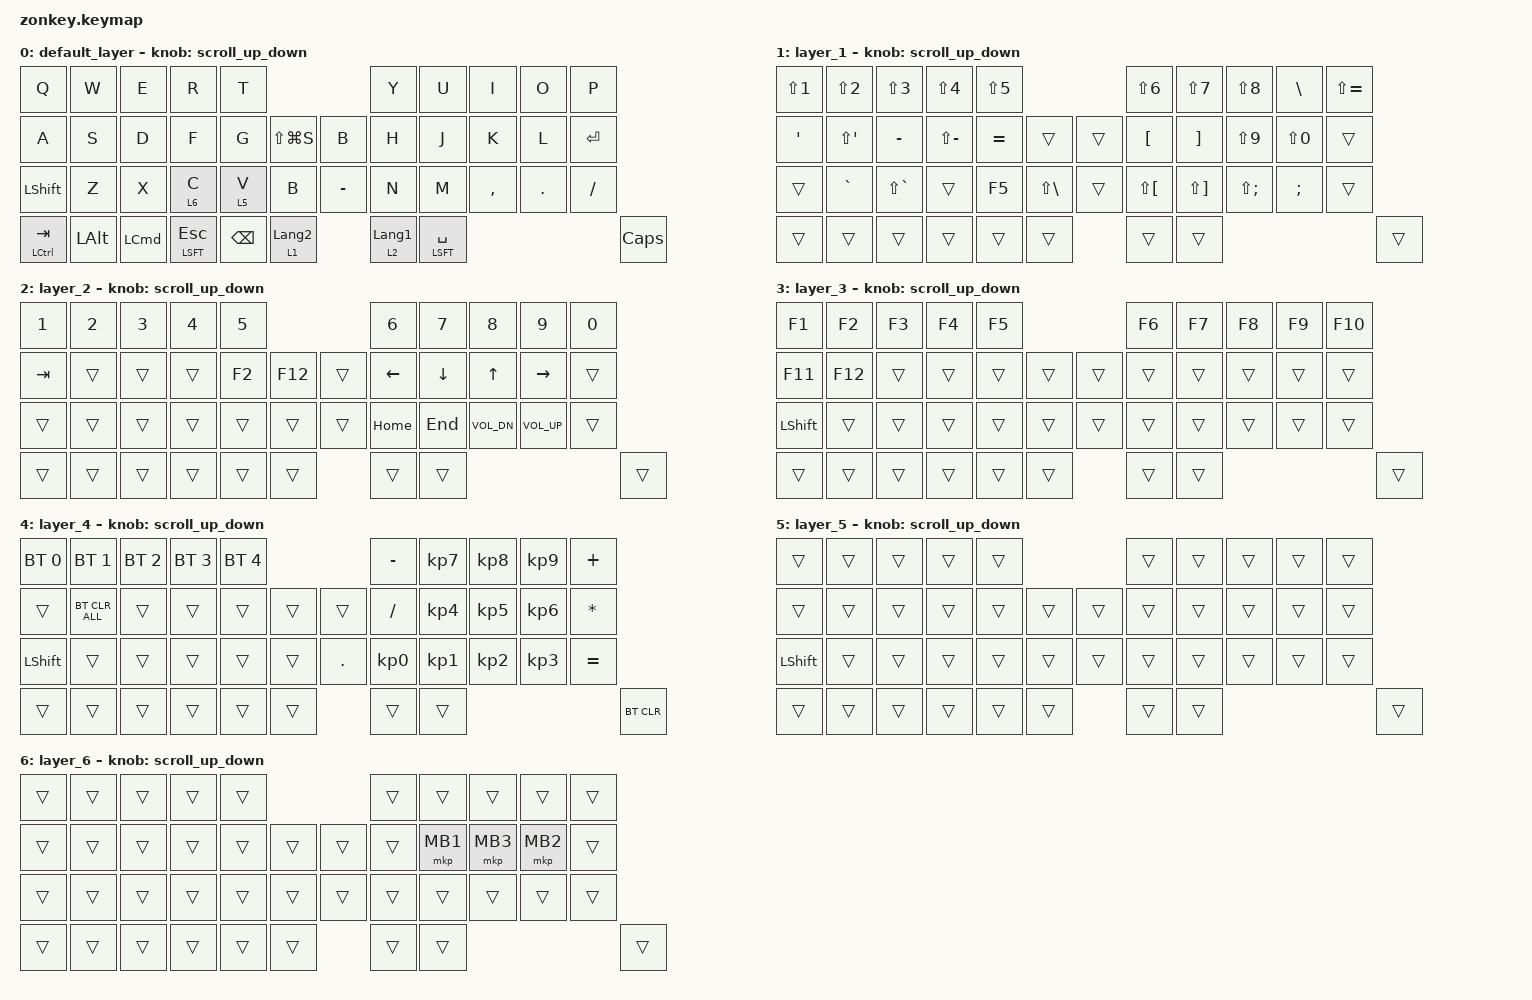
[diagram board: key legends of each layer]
#include <behaviors.dtsi>
#include <dt-bindings/zmk/bt.h>
#include <dt-bindings/zmk/keys.h>
#include <dt-bindings/zmk/pointing.h>

#define ZMK_POINTING_DEFAULT_SCRL_VAL 100
#define MOUSE 6
#define JP_DQUOTE       AT                // "
#define JP_AMPERSAND    CARET             // &
#define JP_QUOTE        AMPERSAND         // '
#define JP_EQUAL        UNDER             // =
#define JP_CARET        EQUAL             // ^
#define JP_YEN          0x89              // ¥
#define JP_PLUS         COLON             // +
#define JP_TILDE        PLUS              // ~
#define JP_PIPE         LS(0x89)          // |
#define JP_AT           LEFT_BRACKET      // @
#define JP_COLON        SINGLE_QUOTE      // :
#define JP_ASTERISK     DOUBLE_QUOTES     // *
#define JP_BACKQUOTE    LEFT_BRACE        // `
#define JP_UNDERSCORE   LS(0x87)          // _
#define JP_LBRACKET     RIGHT_BRACKET     // [
#define JP_RBRACKET     BACKSLASH         // ]
#define JP_LPAREN       ASTERISK          // (
#define JP_RPAREN       LEFT_PARENTHESIS  // )
#define JP_LBRACE       RIGHT_BRACE       // {
#define JP_RBRACE       PIPE              // }
#define JP_KANA         LANGUAGE_1        // かな
#define JP_EISU         LANGUAGE_2        // 英数
#define JP_HANZEN       GRAVE             // 半角/全角
#define JP_BSLH  INT1         // (backslash)

&mt {
    flavor = "balanced";
    quick-tap-ms = <0>;
};

/ {
    combos {
        compatible = "zmk,combos";

        combo_lclick {
            key-positions = <12 13>; // D+F
            bindings = <&mkp MB1>;
        };

        combo_rclick {
            key-positions = <11 12>; // S+D
            bindings = <&mkp MB2>;
        };

        combo_ctrl_j {
            key-positions = <18 19>; // J+K
            bindings = <&kp LC(J)>;
        };

        combo_ctrl_k {
            key-positions = <19 20>; // K+L
            bindings = <&kp LC(K)>;
        };

        combo_ctrl_semi {
            key-positions = <20 21>; // L+;
            bindings = <&kp LC(SEMI)>;
        };
    };

    conditional_layers {
        compatible = "zmk,conditional-layers";

        tri_layer {
            if-layers = <1 2>;
            then-layer = <3>;
        };
    };

    mo2: mo2 {
        compatible = "zmk,behavior-mod-morph";
        #binding-cells = <0>;
        bindings = <&kp N2>, <&kp AT>;

        mods = <(MOD_LSFT|MOD_RSFT)>;
    };

    mo6: mo6 {
        compatible = "zmk,behavior-mod-morph";
        #binding-cells = <0>;
        bindings = <&kp N6>, <&kp CARET>;

        mods = <(MOD_LSFT|MOD_RSFT)>;
    };

    mo7: mo7 {
        compatible = "zmk,behavior-mod-morph";
        #binding-cells = <0>;
        bindings = <&kp N7>, <&kp AMPS>;

        mods = <(MOD_LSFT|MOD_RSFT)>;
    };

    mo8: mo8 {
        compatible = "zmk,behavior-mod-morph";
        #binding-cells = <0>;
        bindings = <&kp N8>, <&kp ASTRK>;

        mods = <(MOD_LSFT|MOD_RSFT)>;
    };

    mo9: mo9 {
        compatible = "zmk,behavior-mod-morph";
        #binding-cells = <0>;
        bindings = <&kp N9>, <&kp LPAR>;

        mods = <(MOD_LSFT|MOD_RSFT)>;
    };

    mo0: mo0 {
        compatible = "zmk,behavior-mod-morph";
        #binding-cells = <0>;
        bindings = <&kp N0>, <&kp LS(N9)>;

        mods = <(MOD_LSFT|MOD_RSFT)>;
    };

    moA: moA {
        compatible = "zmk,behavior-mod-morph";
        #binding-cells = <0>;
        bindings = <&kp MINUS>, <&kp UNDERSCORE>;

        mods = <(MOD_LSFT|MOD_RSFT)>;
    };

    moB: moB {
        compatible = "zmk,behavior-mod-morph";
        #binding-cells = <0>;
        bindings = <&kp EQUAL>, <&kp PLUS>;

        mods = <(MOD_LSFT|MOD_RSFT)>;
    };

    moC: moC {
        compatible = "zmk,behavior-mod-morph";
        #binding-cells = <0>;
        bindings = <&kp INT3>, <&kp JP_PIPE>;

        mods = <(MOD_LSFT|MOD_RSFT)>;
    };

    moD: moD {
        compatible = "zmk,behavior-mod-morph";
        #binding-cells = <0>;
        bindings = <&kp LBKT>, <&kp LBRC>;

        mods = <(MOD_LSFT|MOD_RSFT)>;
    };

    moE: moE {
        compatible = "zmk,behavior-mod-morph";
        #binding-cells = <0>;
        bindings = <&kp RBKT>, <&kp RBRC>;

        mods = <(MOD_LSFT|MOD_RSFT)>;
    };

    moF: moF {
        compatible = "zmk,behavior-mod-morph";
        #binding-cells = <0>;
        bindings = <&kp SEMI>, <&kp KP_PLUS>;

        mods = <(MOD_LSFT|MOD_RSFT)>;
    };

    moG: moG {
        compatible = "zmk,behavior-mod-morph";
        #binding-cells = <0>;
        bindings = <&kp APOSTROPHE>, <&kp DQT>;

        mods = <(MOD_LSFT|MOD_RSFT)>;
    };

    moH: moH {
        compatible = "zmk,behavior-mod-morph";
        #binding-cells = <0>;
        bindings = <&kp BACKSLASH>, <&kp TILDE2>;

        mods = <(MOD_LSFT|MOD_RSFT)>;
    };

    moI: moI {
        compatible = "zmk,behavior-mod-morph";
        #binding-cells = <0>;
        bindings = <&kp JP_BSLH>, <&kp JP_UNDERSCORE>;

        mods = <(MOD_LSFT|MOD_RSFT)>;
    };

    macros {
        to_layer_0: to_layer_0 {
            compatible = "zmk,behavior-macro-one-param";
            #binding-cells = <1>;
            bindings = <&to 0 &macro_param_1to1 &kp MACRO_PLACEHOLDER>;
            label = "TO_LAYER_0";
        };
    };

    behaviors {
        lt_to_layer_0: lt_to_layer_0 {
            compatible = "zmk,behavior-hold-tap";
            label = "LAYER_TAP_TO_0";
            bindings = <&mo>, <&to_layer_0>;

            #binding-cells = <2>;
            tapping-term-ms = <200>;
        };

        scroll_up_down: behavior_sensor_rotate_mouse_wheel_up_down {
            compatible = "zmk,behavior-sensor-rotate";
            #sensor-binding-cells = <0>;
            bindings = <&msc SCRL_DOWN>, <&msc SCRL_UP>;

            tap-ms = <20>;
        };
    };

    keymap {
        compatible = "zmk,keymap";

        default_layer {
            // -----------------------------------------------------------------------------------------
            // |  Q  |  W  |  E  |  R  |  T  |                        |  Y  |  U   |  I  |  O  |  P  |
            // |  A  |  S  |  D  |  F  |  G  |LS(LG(S))|        | - |  H  |  J   |  K  |  L  | ENT |
            // |SHIFT|  Z  |  X  |  C  |  V  |  B  |           | B |  N  |  M   |  ,  |  .  |  /  |
            // |CTRL | ALT | CMD |ESC  | BS  | 英数 |          |L2/かな|SPACE|                |CAPS |           

            bindings = <
&kp Q           &kp W             &kp E         &kp R             &kp T                                         &kp Y          &kp U      &kp I      &kp O    &kp P
&kp A           &kp S             &kp D         &kp F             &kp G        &kp LS(LG(S))         &kp B      &kp H          &kp J      &kp K      &kp L    &kp ENTER
&kp LEFT_SHIFT  &kp Z             &kp X         &lt 6 C           &lt 5 V      &kp B                  &kp MINUS  &kp N          &kp M      &kp COMMA  &kp DOT  &kp SLASH
&mt LCTRL TAB   &kp LEFT_ALT      &kp LEFT_COMMAND  &mt LSFT ESC  &kp BACKSPACE  &lt 1 LANGUAGE_2               &lt 2 LANGUAGE_1  &mt LSFT SPACE                           &kp CAPSLOCK
            >;

            sensor-bindings = <&scroll_up_down>;
        };

        layer_1 {
            // -----------------------------------------------------------------------------------------
            // |  !  |  @  |  #  |  $  |  %  |                        |  ^  |  &  |  *  |  \  |  +  |
            // |  '  |  "  |  -  |  _  |  =  |     |           |     |  [  |  ]  |  (  |  )  |     |
            // |     |  `  |  ~  |     |  F5 |  |  |           |     |  {  |  }  |  :  |  ;  |     |
            // |     |     |     |     |     |     |           |     |     |                   |     |

            bindings = <
&kp LS(N1)      &kp LS(N2)    &kp LS(N3)    &kp LS(N4)        &kp LS(N5)                                          &kp LS(N6)     &kp LS(N7)     &kp LS(N8)    &kp BSLH        &kp LS(EQUAL)
&kp SQT         &kp LS(SQT)   &kp MINUS     &kp LS(MINUS)     &kp EQUAL    &trans                &trans           &kp LBKT       &kp RBKT       &kp LS(N9)    &kp LS(N0)      &trans
&trans          &kp GRAVE     &kp LS(GRAVE) &trans            &kp F5       &kp LS(BSLH)          &trans           &kp LS(LBKT)   &kp LS(RBKT)   &kp LS(SEMI)  &kp SEMI        &trans
&trans          &trans        &trans        &trans            &trans       &trans                                   &trans         &trans                                        &trans
            >;

            sensor-bindings = <&scroll_up_down>;
        };

        layer_2 {
            // -----------------------------------------------------------------------------------------
            // |  1  |  2  |  3  |  4  |  5  |                     |  6  |  7  |  8  |  9  |   0  |
            // |     |     |     |     | F2  | F12 |          |    |  ←  |  ↓  |  ↑  |  →  | TAB  |
            // |     |     |     |     |     |     |          |    | HOME| END |VOLDN|VOLUP|      |
            // |     |     |     |     |     |     |          |    |     |                  |      |

            bindings = <
&kp N1          &kp N2        &kp N3        &kp N4            &kp N5                                          &kp N6         &kp N7     &kp N8          &kp N9          &kp N0
&kp TAB         &trans        &trans        &trans            &kp F2       &kp F12               &trans        &kp LEFT       &kp DOWN   &kp UP          &kp RIGHT       &trans
&trans          &trans        &trans        &trans            &trans       &trans                &trans        &kp HOME       &kp END    &kp C_VOL_DN    &kp C_VOL_UP    &trans
&trans          &trans        &trans        &trans            &trans       &trans                               &trans         &trans                                     &trans
            >;

            sensor-bindings = <&scroll_up_down>;
        };

        layer_3 {
            // -----------------------------------------------------------------------------------------
            // | F1  | F2  | F3  | F4  | F5  |                     | F6  | F7 | F8  | F9 | F10 |
            // | F11 | F12 |     |     |     |     |           |    |     |     |     |     |      |
            // |SHIFT|     |     |     |     |     |           |     |     |     |     |     |      |
            // | CTRL| WIN | ALT |HENKAN|SPACE|MUHENKAN|         | BS | ENT |                   | DEL |

            bindings = <
&kp F1          &kp F2        &kp F3        &kp F4            &kp F5                                     &kp F6         &kp F7     &kp F8  &kp F9  &kp F10
&kp F11         &kp F12       &trans        &trans            &trans       &trans                &trans  &trans         &trans     &trans  &trans  &trans
&kp LEFT_SHIFT  &trans        &trans        &trans            &trans       &trans                &trans  &trans         &trans     &trans  &trans  &trans
&trans          &trans        &trans        &trans            &trans       &trans                           &trans         &trans                                      &trans
            >;

            sensor-bindings = <&scroll_up_down>;
        };

        layer_4 {
            // -----------------------------------------------------------------------------------------
            // | BT0 | BT1 | BT2 | BT3 | BT4 |                        |  -  |  7  |  8  |  9  |  +  |
            // |     |BTALL|     |     |     |     |                 |  /  |  4  |  5  |  6  |  *  | 
            // |SHIFT|     |     |     |     |     |           |  .  |  0  |  1  |  2  |   3  |  =  |
            // | CTRL| WIN | ALT |HENKAN|SPACE|MUHENKAN|        | BS | ENT |                |BTCLR |

            bindings = <
&bt BT_SEL 0    &bt BT_SEL 1    &bt BT_SEL 2  &bt BT_SEL 3    &bt BT_SEL 4                               &kp MINUS        &kp KP_NUMBER_7  &kp KP_NUMBER_8  &kp KP_NUMBER_9  &kp PLUS
&trans          &bt BT_CLR_ALL  &trans        &trans          &trans        &trans              &trans   &kp SLASH        &kp KP_NUMBER_4  &kp KP_NUMBER_5  &kp KP_NUMBER_6  &kp ASTERISK
&kp LEFT_SHIFT  &trans          &trans        &trans          &trans        &trans              &kp DOT  &kp KP_NUMBER_0  &kp KP_NUMBER_1  &kp KP_NUMBER_2  &kp KP_NUMBER_3  &kp EQUAL
&trans          &trans          &trans        &trans          &trans        &trans                        &trans           &trans                                                               &bt BT_CLR
            >;

            sensor-bindings = <&scroll_up_down>;
        };

        layer_5 {
            // -----------------------------------------------------------------------------------------
            // |      |     |     |     |     |                     |     |     |     |     |      |
            // |      |     |     |     |     |     |           |    |     |     |     |     |      |
            // |SHIFT|     |     |     |     |     |          |     |     |     |     |     |      |
            // | CTRL| WIN | ALT |HENKAN|SPACE|MUHENKAN|        | BS | ENT |                  | DEL |

            bindings = <
&trans          &trans        &trans        &trans          &trans                                 &trans         &trans     &trans  &trans  &trans
&trans          &trans        &trans        &trans          &trans     &trans              &trans  &trans         &trans     &trans  &trans  &trans
&kp LEFT_SHIFT  &trans        &trans        &trans          &trans     &trans              &trans  &trans         &trans     &trans  &trans  &trans
&trans          &trans        &trans        &trans          &trans     &trans                      &trans         &trans                                     &trans
            >;

            sensor-bindings = <&scroll_up_down>;
        };

        layer_6 {
            bindings = <
&trans  &trans  &trans  &trans  &trans                    &trans  &trans    &trans    &trans    &trans
&trans  &trans  &trans  &trans  &trans  &trans    &trans  &trans  &mkp MB1  &mkp MB3  &mkp MB2  &trans
&trans  &trans  &trans  &trans  &trans  &trans    &trans  &trans  &trans    &trans    &trans    &trans
&trans  &trans  &trans  &trans  &trans  &trans            &trans  &trans                                &trans
            >;

            sensor-bindings = <&scroll_up_down>;
        };
    };
};
